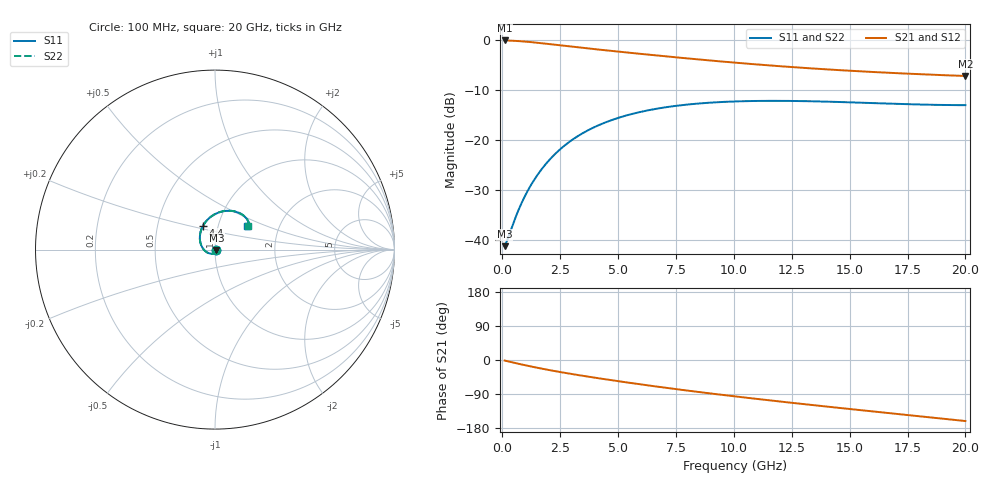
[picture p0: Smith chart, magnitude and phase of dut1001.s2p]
! Touchstone file exported from HFSS 2024.1.0
!  File:  C:/UserFiles/LocalFiles/RDL_TSV_Batchsim/temp_RDL_TSV_1001_1780076428.aedt
!  Generated:  01:53:09 AM May 30, 2026
!  Design:  RDL_TSV
!  Project:  temp_RDL_TSV_1001_1780076428
!  Setup:  Setup1
!  Solution:  Sweep
! Variables:
!  dtsv = 10.92um
!  hbump = 3um
!  htsv = 70.02um
!  ldown = 464.07um
!  lrdl = 221.11um
!  p = 40
!  p1 = 44.94um
!  rhole = 10um
!  subl = 2276.65um
!  t = 450um
!  tdown = 4.89um
!  trdl = 3.94um
!  viad = 10um
!  wdown = 26.68um
!  wrdl = 21.7um
!  xbump = 18um
# GHz S MA R 50.000000
! Terminal data exported
! Port[1] = TM1_1_T1
! Port[2] = TM1_4_T1
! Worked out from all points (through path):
!   200 points, 100 MHz to 20 GHz, reference 50 ohm
!   highest |S21| = -0.08 dB at 100 MHz (marker M1); lowest = -7.2 dB at 20 GHz (marker M2)
!   group delay of S21, straight-line fit = 21.2 ps
!   lowest |S11| = -41.2 dB at 100 MHz (marker M3), VSWR 1.02, Z = 50.8 - j0.272 ohm
!   |S11| at or under -10 dB: start of sweep to end of sweep
!   |S22| runs from -41.2 to -12.1 dB; largest |S21 - S12| = 9.8e-15
!   S11 on the Smith chart (normalised r, x): 100 MHz: 1.02, -0.01; 4.4 GHz: 0.85, +0.23; 20 GHz: 1.38, +0.38
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0.1  0.008742 -17.8  0.9911 -1.5  0.9911 -1.5  0.008741 -17.8
! Gamma 0 0 0 0
! Port Impedance 50 0 50 0
0.2  0.009857 -35.6  0.9897 -2.9  0.9897 -2.9  0.009855 -35.6
0.6  0.01761 -91.0  0.9802 -8.6  0.9802 -8.6  0.0176 -91.1
0.8  0.02266 -110.1  0.9733 -11.3  0.9733 -11.3  0.02266 -110.2
1.1  0.03128 -133.0  0.9606 -15.3  0.9606 -15.3  0.03129 -133.1
1.5  0.04433 -156.8  0.9407 -20.4  0.9407 -20.4  0.04437 -156.9
1.9  0.05863 -175.8  0.919 -25.1  0.919 -25.1  0.0587 -175.8
2.4  0.0774 165.2  0.8915 -30.7  0.8915 -30.7  0.07753 165.1
2.9  0.09635 149.7  0.8649 -35.9  0.8649 -35.9  0.09653 149.7
3.5  0.1184 134.6  0.8348 -41.9  0.8348 -41.9  0.1187 134.5
3.9  0.1324 125.9  0.8158 -45.8  0.8158 -45.8  0.1327 125.9
4.4  0.1488 116.4  0.7931 -50.4  0.7931 -50.4  0.1492 116.4
5.5  0.1803 99.3  0.7468 -60.2  0.7468 -60.2  0.1808 99.3
6.8  0.2087 83.6  0.6972 -71.2  0.6972 -71.2  0.2093 83.6
8.4  0.2317 68.9  0.643 -83.8  0.643 -83.8  0.2324 68.9
10.1  0.244 57.1  0.5935 -96.4  0.5935 -96.4  0.2448 57.1
11.7  0.2472 48.8  0.5545 -107.6  0.5545 -107.6  0.2481 48.8
13.4  0.2446 42.4  0.5203 -118.9  0.5203 -118.9  0.2455 42.3
15  0.239 38.4  0.494 -129.3  0.494 -129.3  0.2399 38.3
16.7  0.2319 36.1  0.4711 -140.2  0.4711 -140.2  0.2328 36.0
18.3  0.2264 35.6  0.4534 -150.3  0.4534 -150.3  0.2273 35.5
20  0.2238 36.3  0.4378 -161.1  0.4378 -161.1  0.2246 36.2
